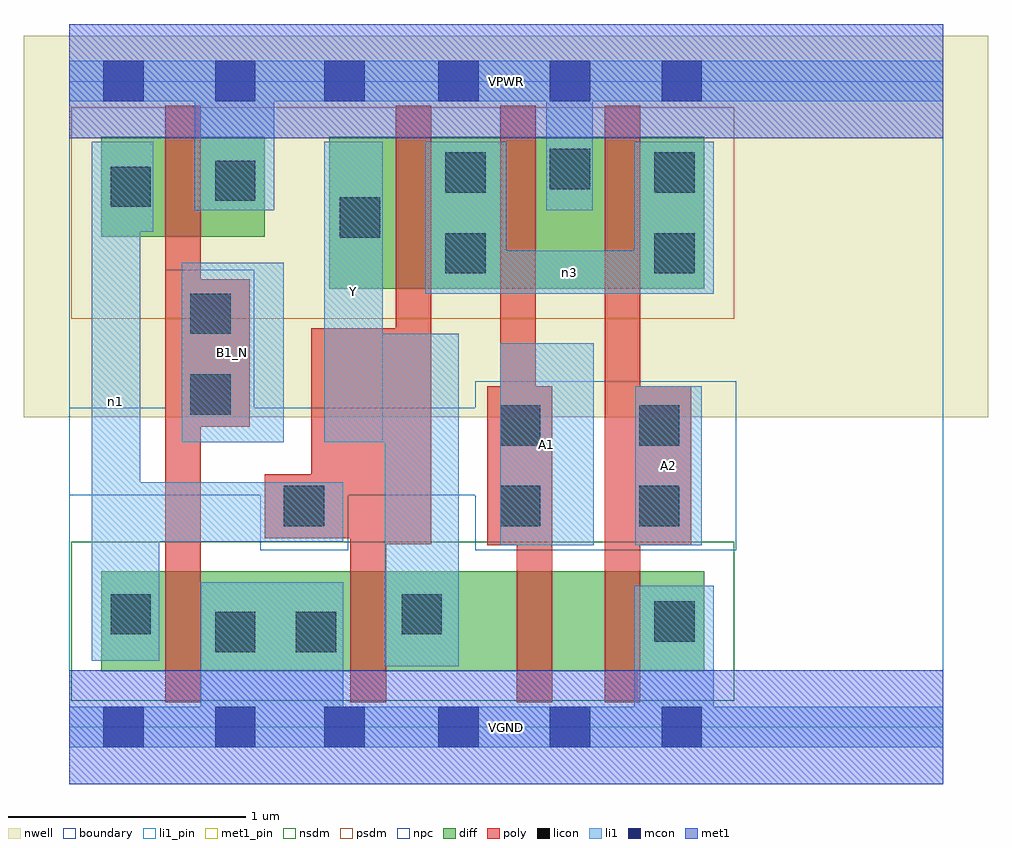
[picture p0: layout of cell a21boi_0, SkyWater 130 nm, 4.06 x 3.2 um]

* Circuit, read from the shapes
.subckt a21boi_0 A1 A2 B1_N VGND VPWR Y n1 n3
XM1 VGND B1_N n1 VSUBS sky130_fd_pr__nfet_01v8 w=0.42 l=0.15
XM2 Y n1 VGND VSUBS sky130_fd_pr__nfet_01v8 w=0.42 l=0.15
XM3 n2 A1 Y VSUBS sky130_fd_pr__nfet_01v8 w=0.42 l=0.15
XM4 VGND A2 n2 VSUBS sky130_fd_pr__nfet_01v8 w=0.42 l=0.15
XM5 VPWR B1_N n1 n4 sky130_fd_pr__pfet_01v8 w=0.42 l=0.15
XM6 n3 n1 Y n4 sky130_fd_pr__pfet_01v8 w=0.64 l=0.15
XM7 VPWR A1 n3 n4 sky130_fd_pr__pfet_01v8 w=0.64 l=0.15
XM8 n3 A2 VPWR n4 sky130_fd_pr__pfet_01v8 w=0.64 l=0.15
.ends

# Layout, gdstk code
import gdstk
lib = gdstk.Library(unit=1e-6, precision=1e-09)
def R(c, l, rs):  # rectangles x0, y0, x1, y1
    for r in rs: c.add(gdstk.rectangle(r[:2], r[2:], *l))
def A(c, l, x, y, w, h, nx, ny, dx, dy):  # array of equal rectangles
    R(c, l, [(x+i*dx, y+j*dy, x+i*dx+w, y+j*dy+h) for i in range(nx) for j in range(ny)])
nwell = (64, 20)
diff = (65, 20)
poly = (66, 20)
licon = (66, 44)
li1_pin = (67, 16)
li1 = (67, 20)
mcon = (67, 44)
met1_pin = (68, 16)
met1 = (68, 20)
nsdm = (93, 44)
psdm = (94, 20)
npc = (95, 20)
boundary = (235, 4)

a21boi_0 = lib.new_cell('a21boi_0')
R(a21boi_0, nwell, [(-0.19,1.305,3.87,2.91), (0,1.305,3.68,2.91)])
R(a21boi_0, diff, [(0.135,0.235,2.675,0.655), (1.095,1.845,2.675,2.485), (0.135,2.065,0.825,2.485)])
R(a21boi_0, poly, [(0.405,0.105,0.555,2.615), (1.185,0.105,1.335,1.68), (1.885,0.105,1.965,2.615), (1.885,0.105,2.035,1.435), (2.255,0.105,2.405,2.615), (1.76,0.765,2.035,1.435), (1.815,0.765,1.885,2.615), (2.255,0.765,2.62,1.435), (1.185,0.77,1.525,1.68), (1.375,0.77,1.525,2.615), (0.825,0.795,1.525,1.065), (1.02,1.065,1.525,1.68), (0.405,1.265,0.76,1.885)])
R(a21boi_0, licon, [(0.615,0.315,0.785,0.485), (0.955,0.315,1.125,0.485), (2.465,0.36,2.635,0.53), (0.175,0.39,0.345,0.56), (1.4,0.39,1.57,0.56), (0.905,0.845,1.075,1.015), (1.815,0.845,1.985,1.015), (2.4,0.845,2.57,1.015), (1.815,1.185,1.985,1.355), (2.4,1.185,2.57,1.355), (0.51,1.315,0.68,1.485), (0.51,1.655,0.68,1.825), (1.585,1.91,1.755,2.08), (2.465,1.91,2.635,2.08), (1.14,2.06,1.31,2.23), (0.175,2.19,0.345,2.36), (0.615,2.215,0.785,2.385), (1.585,2.25,1.755,2.42), (2.465,2.25,2.635,2.42), (2.025,2.265,2.195,2.435)])
R(a21boi_0, li1_pin, [(1.815,0.765,2.21,1.615), (2.385,0.765,2.665,1.435), (0.475,1.2,0.905,1.955), (1.075,1.2,1.32,2.465)])
R(a21boi_0, li1, [(0,-0.085,3.68,0.085), (0.555,-0.085,1.155,0.61), (2.38,-0.085,2.715,0.595), (1.33,0.255,1.64,1.655), (0.095,0.28,0.3,2.465), (0.095,0.28,0.38,1.03), (1.815,0.765,2.21,1.615), (2.385,0.765,2.665,1.435), (0.095,0.78,1.155,1.03), (0.475,1.2,0.905,1.955), (1.075,1.2,1.32,2.465), (1.075,1.2,1.64,1.655), (1.5,1.825,2.715,2.005), (1.5,1.825,1.84,2.465), (2.38,1.825,2.715,2.465), (0.095,2.085,0.355,2.465), (0.53,2.175,0.865,2.805), (2.01,2.175,2.205,2.805), (0,2.635,3.68,2.805)])
A(a21boi_0, mcon, 1.555, -0.085, 0.17, 0.17, 3, 2, 0.47, 2.72)
R(a21boi_0, mcon, [(0.145,-0.085,0.315,0.085), (0.615,-0.085,0.785,0.085), (1.075,-0.085,1.245,0.085), (0.145,2.635,0.315,2.805), (0.615,2.635,0.785,2.805), (1.075,2.635,1.245,2.805)])
R(a21boi_0, met1_pin, [(0,-0.24,3.68,0.24), (0,2.48,3.68,2.96)])
R(a21boi_0, met1, [(0,-0.24,3.68,0.24), (0,2.48,3.68,2.96)])
R(a21boi_0, nsdm, [(0.01,0.11,2.8,0.78)])
R(a21boi_0, psdm, [(0.01,1.72,2.8,2.61)])
R(a21boi_0, npc, [(0.805,0.745,1.175,1.345), (1.71,0.745,2.81,1.455), (0,0.975,2.81,1.345), (0.405,0.975,0.78,1.925)])
R(a21boi_0, boundary, [(0,0,3.68,2.72)])
a21boi_0.add(gdstk.Label('A1', (2.012,1.19), layer=67, texttype=5))
a21boi_0.add(gdstk.Label('A2', (2.525,1.1), layer=67, texttype=5))
a21boi_0.add(gdstk.Label('B1_N', (0.69,1.577), layer=67, texttype=5))
a21boi_0.add(gdstk.Label('Y', (1.197,1.832), layer=67, texttype=5))
a21boi_0.add(gdstk.Label('n1', (0.197,1.372), layer=67, texttype=5))
a21boi_0.add(gdstk.Label('n3', (2.107,1.915), layer=67, texttype=5))
a21boi_0.add(gdstk.Label('VPWR', (1.84,2.72), layer=68, texttype=5))
a21boi_0.add(gdstk.Label('VGND', (1.84,0), layer=68, texttype=5))
a21boi_0.add(gdstk.Label('A1', (2.012,1.19), layer=67, texttype=16))
a21boi_0.add(gdstk.Label('A2', (2.525,1.1), layer=67, texttype=16))
a21boi_0.add(gdstk.Label('B1_N', (0.69,1.577), layer=67, texttype=16))
a21boi_0.add(gdstk.Label('Y', (1.197,1.832), layer=67, texttype=16))
a21boi_0.add(gdstk.Label('VPWR', (1.84,2.72), layer=68, texttype=16))
a21boi_0.add(gdstk.Label('VGND', (1.84,0), layer=68, texttype=16))

lib.write_gds('a21boi_0.gds')
